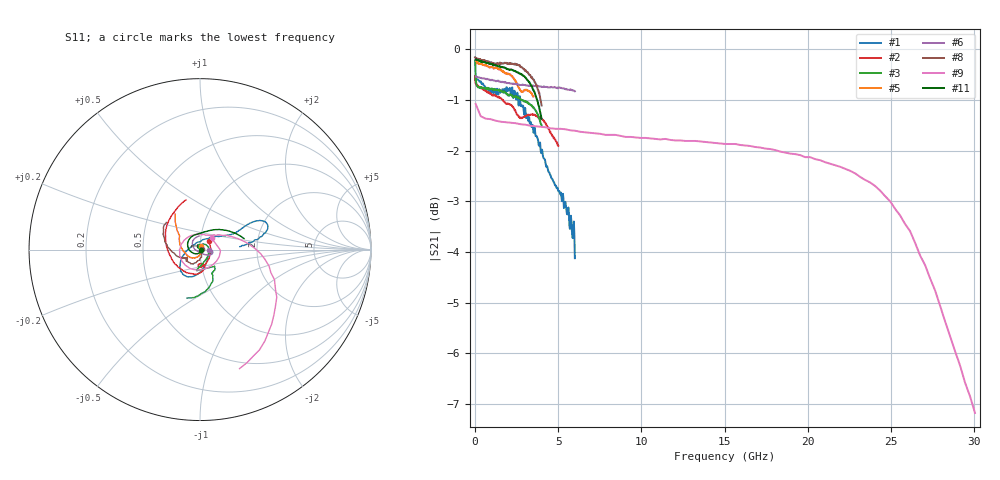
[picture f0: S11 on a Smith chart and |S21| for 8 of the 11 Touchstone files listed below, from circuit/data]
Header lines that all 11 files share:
!Hittite Microwave Corporation
!Chelmsford, MA 01824
!Tel: 978-250-3343
!Fax: 978-250-3373
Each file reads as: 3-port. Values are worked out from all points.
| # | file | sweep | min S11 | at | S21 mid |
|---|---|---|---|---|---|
| 1 | HMC348LP3_deembedded_rf1_selected.s3p | 30 MHz to 6 GHz | -27.3 dB | 2.179 GHz | -1.2 dB at 3.015 GHz |
| 2 | HMC349LP4C_rf1_selected_deembedded_ADS.s3p | 10 MHz to 5 GHz | -24.0 dB | 34.95 MHz | -1.3 dB at 2.505 GHz |
| 3 | HMC349MS8G_deembedded_rf1_selected.s3p | 10 MHz to 4 GHz | -32.8 dB | 10 MHz | -0.9 dB at 2.005 GHz |
| 4 | HMC435MS8G_rf1_selected_deembedded.s3p | 30 MHz to 6 GHz | -39.2 dB | 2.03 GHz | -1.1 dB at 3.015 GHz |
| 5 | HMC484MS8G_rf1_selected_deembedded_ADS.s3p | 50 MHz to 3.5 GHz | -42.1 dB | 101.8 MHz | -0.5 dB at 1.775 GHz |
| 6 | HMC536MS8G_deembedded_rf1_selected.s3p | 50 MHz to 6 GHz | -36.5 dB | 4.394 GHz | -0.7 dB at 3.025 GHz |
| 7 | Hmc544_rf1_selected_deemb.s3p | 50 kHz to 6 GHz | -43.4 dB | 50 kHz | -0.6 dB at 3 GHz |
| 8 | Hmc545_rf1_port_selected_s_parameters_de_embedded.s3p | 30 kHz to 4 GHz | -40.0 dB | 20.03 MHz | -0.3 dB at 2 GHz |
| 9 | Hmc547lp3_sparam_rf1_selected.s3p | 40 MHz to 30.04 GHz | -21.2 dB | 19.24 GHz | -1.9 dB at 15.04 GHz |
| 10 | HMC574MS8_deembedded_rf1_selected.s3p | 50 MHz to 4 GHz | -40.0 dB | 50 MHz | -0.4 dB at 2.025 GHz |
| 11 | HMC595_deembedded_rf1_selected.s3p | 50 MHz to 4 GHz | -43.4 dB | 89.5 MHz | -0.4 dB at 2.025 GHz |
